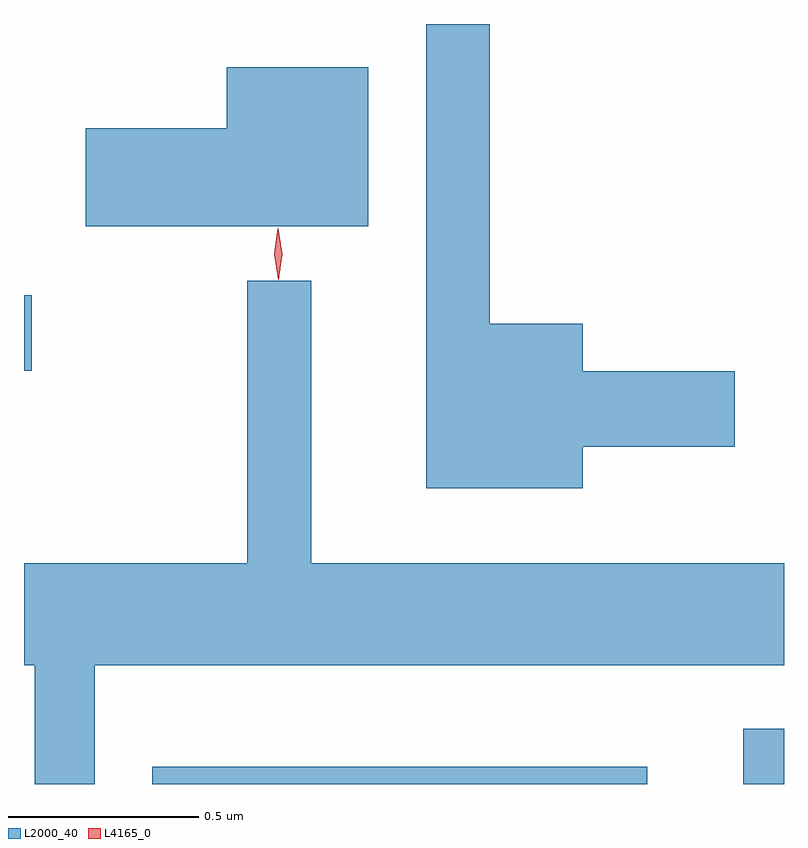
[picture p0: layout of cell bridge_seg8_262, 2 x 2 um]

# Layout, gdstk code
import gdstk
lib = gdstk.Library(unit=1e-6, precision=1e-09)
def R(c, l, rs):  # rectangles x0, y0, x1, y1
    for r in rs: c.add(gdstk.rectangle(r[:2], r[2:], *l))
def P(c, l, *ps):  # polygons
    for p in ps: c.add(gdstk.Polygon(p, *l))
L2000_40 = (2000, 40)
L4165_0 = (4165, 0)

bridge_seg8_262 = lib.new_cell('bridge_seg8_262')
R(bridge_seg8_262, L2000_40, [(1110.501,1820.563,1111.803,1820.609), (1112.056,1820.563,1112.163,1820.709), (1110.163,1821.651,1110.184,1821.849)])
P(bridge_seg8_262, L2000_40, [(1111.634,1821.451),(1112.034,1821.451),(1112.034,1821.649),(1111.634,1821.649),(1111.634,1821.774),(1111.389,1821.774),(1111.389,1822.563),(1111.221,1822.563),(1111.221,1821.341),(1111.634,1821.341)],
  [(1111.069,1822.449),(1110.696,1822.449),(1110.696,1822.289),(1110.326,1822.289),(1110.326,1822.031),(1111.069,1822.031)],
  [(1110.349,1820.876),(1112.163,1820.876),(1112.163,1821.144),(1110.919,1821.144),(1110.919,1821.888),(1110.751,1821.888),(1110.751,1821.144),(1110.163,1821.144),(1110.163,1820.876),(1110.191,1820.876),(1110.191,1820.563),(1110.349,1820.563)])
P(bridge_seg8_262, L4165_0, [(1110.832,1821.89),(1110.832,1821.89),(1110.822,1821.958),(1110.831,1822.025),(1110.832,1822.026),(1110.832,1822.025),(1110.842,1821.958),(1110.833,1821.89)],
  [(1110.832,1821.893),(1110.832,1821.894),(1110.822,1821.956),(1110.831,1822.019),(1110.832,1822.02),(1110.832,1822.019),(1110.842,1821.956),(1110.833,1821.894)])

lib.write_gds('bridge_seg8_262.gds')
